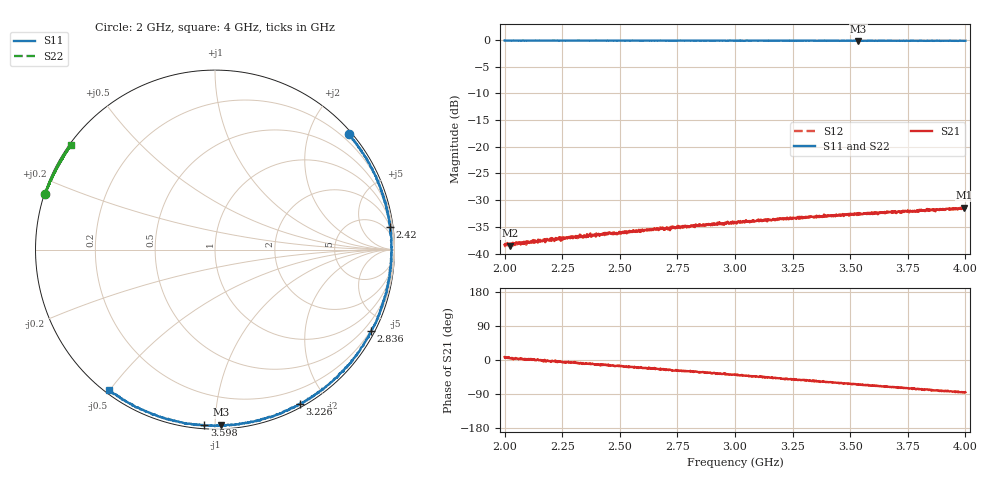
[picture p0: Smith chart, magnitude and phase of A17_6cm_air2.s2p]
!Keysight Technologies N9950B: A.12.38
!Date: Monday, 17 April 2023 19:40:52
!Timezone: (UTC-06:00) Central Time (US & Canada)
!Model: N9950B
!Serial: MY61131330
!GPS Latitude:
!GPS Longitude:
!GPS TimeStamp: 0001-01-01 00:00:00Z
!GPS Seconds Since Last Read: 0
!CHECKSUM:0110583977
!Correction: S11(ON U)S21(ON U)S12(ON U)S22(ON U)
!S2P File: Measurements:S11,S21,S12,S22:
# Hz S DB R 50
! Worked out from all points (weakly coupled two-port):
!   1001 points, 2 GHz to 4 GHz, reference 50 ohm
!   highest |S21| = -31.42 dB at 3.994 GHz (marker M1); lowest = -38.5 dB at 2.022 GHz (marker M2)
!   lowest |S11| = -0.2 dB at 3.536 GHz (marker M3), VSWR 82.91, Z = 1.25 - j51.7 ohm
!   |S11| at or under -10 dB: nowhere
!   |S22| runs from -0.1 to 0.0 dB; largest |S21 - S12| = 0.0012
!   S11 on the Smith chart (normalised r, x): 2 GHz: 0.06, +2.68; 2.42 GHz: 2, +15; 2.836 GHz: 0.16, -4.08; 3.226 GHz: 0.04, -1.69; 3.598 GHz: 0.02, -0.94; 4 GHz: 0.01, -0.50
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2e9  -0.13 40.9  -38.34 7.7  -38.32 6.4  -0.03 161.8
2.022e9  -0.13 39.4  -38.54 5.2  -38.13 5.7  -0.04 161.5
2.108e9  -0.15 32.4  -38.02 1.2  -37.81 1.7  -0.05 160.8
2.2e9  -0.14 25.1  -37.42 -2.6  -37.24 -2.7  -0.05 159.9
2.334e9  -0.14 14.3  -36.90 -7.9  -36.62 -7.2  -0.04 158.7
2.42e9  -0.13 7.4  -36.41 -10.8  -36.29 -12.7  -0.04 157.9
2.558e9  -0.15 -4.1  -35.85 -19.5  -35.86 -18.4  -0.07 156.6
2.668e9  -0.14 -13.3  -35.61 -24.2  -35.33 -23.9  -0.05 155.6
2.76e9  -0.15 -21.0  -35.17 -28.4  -34.96 -27.7  -0.07 154.8
2.836e9  -0.16 -27.5  -34.71 -31.3  -34.71 -32.2  -0.07 154.0
3e9  -0.13 -41.7  -34.14 -39.1  -34.09 -39.0  -0.08 152.7
3.112e9  -0.16 -51.2  -33.64 -43.7  -33.73 -44.5  -0.07 151.7
3.226e9  -0.18 -61.2  -33.27 -49.0  -33.50 -49.7  -0.10 150.6
3.334e9  -0.14 -70.7  -33.14 -55.8  -33.14 -55.1  -0.09 149.7
3.424e9  -0.15 -78.5  -32.82 -60.0  -32.97 -59.4  -0.08 148.9
3.536e9  -0.21 -88.1  -32.76 -63.7  -32.59 -65.6  -0.09 147.8
3.598e9  -0.18 -93.5  -32.62 -67.6  -32.42 -68.1  -0.08 147.4
3.668e9  -0.15 -99.2  -32.18 -70.6  -32.24 -70.7  -0.06 146.6
3.808e9  -0.15 -111.1  -31.77 -77.7  -31.91 -77.0  -0.05 145.5
3.88e9  -0.18 -117.3  -31.80 -80.3  -31.72 -80.3  -0.07 145.0
3.994e9  -0.19 -126.6  -31.42 -85.0  -31.59 -86.3  -0.07 143.9
4e9  -0.17 -127.1  -31.56 -85.1  -31.54 -87.1  -0.04 144.0
